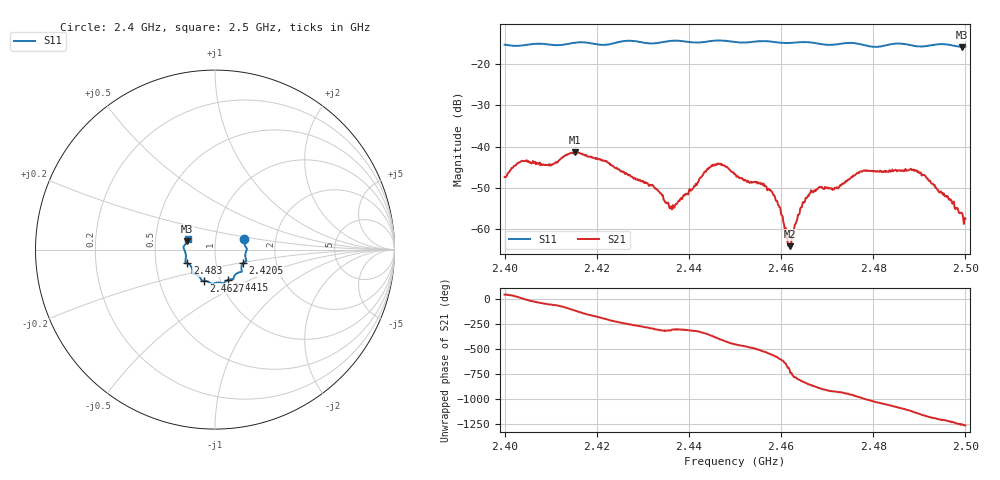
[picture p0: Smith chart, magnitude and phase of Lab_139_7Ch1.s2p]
# Hz S RI R 50
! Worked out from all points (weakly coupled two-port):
!   601 points, 2.4 GHz to 2.5 GHz, reference 50 ohm
!   highest |S21| = -41.41 dB at 2.4153 GHz (marker M1); lowest = -64.2 dB at 2.4618 GHz (marker M2)
!   lowest |S11| = -15.8 dB at 2.4993 GHz (marker M3), VSWR 1.39, Z = 36.4 + j3.62 ohm
!   |S11| at or under -10 dB: start of sweep to end of sweep
!   S12 and S22 are empty: the file has one direction only
!   S11 on the Smith chart (normalised r, x): 2.4 GHz: 1.38, +0.16; 2.4205 GHz: 1.35, -0.21; 2.4415 GHz: 1.09, -0.38; 2.4627 GHz: 0.84, -0.30; 2.483 GHz: 0.73, -0.11; 2.5 GHz: 0.73, +0.09
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2.4e9  0.1636 0.0574  0.00313 0.0029  0 0  0 0
2.4035e9  0.1673 0.0222  0.00647 0.00102  0 0  0 0
2.409833e9  0.1732 -0.00926  0.00327 -0.00487  0 0  0 0
2.415333e9  0.1737 -0.059  -0.00394 -0.00754  0 0  0 0
2.416667e9  0.1744 -0.0635  -0.00587 -0.0056  0 0  0 0
2.4205e9  0.156 -0.0757  -0.00699 0.000344  0 0  0 0
2.433333e9  0.1074 -0.1471  0.00178 0.00228  0 0  0 0
2.436333e9  0.1024 -0.1642  0.001 0.0014  0 0  0 0
2.4415e9  0.0734 -0.1686  0.0027 0.00226  0 0  0 0
2.445833e9  0.048 -0.1886  0.00554 -0.00256  0 0  0 0
2.45e9  0.0301 -0.1844  -0.000189 -0.00464  0 0  0 0
2.458167e9  -0.0251 -0.1864  -0.00254 0.000975  0 0  0 0
2.461833e9  -0.0543 -0.1737  0.000593 0.000163  0 0  0 0
2.462667e9  -0.0609 -0.1729  0.000565 -0.000647  0 0  0 0
2.464667e9  -0.0719 -0.1719  -0.00045 -0.002  0 0  0 0
2.466667e9  -0.0768 -0.1673  -0.00219 -0.00181  0 0  0 0
2.4775e9  -0.1261 -0.1202  -0.000238 0.00492  0 0  0 0
2.483e9  -0.1542 -0.0754  0.00455 0.00208  0 0  0 0
2.483333e9  -0.1565 -0.074  0.00456 0.00178  0 0  0 0
2.489833e9  -0.162 -0.0322  0.00218 -0.00448  0 0  0 0
2.499333e9  -0.1554 0.0485  -0.00151 -0.000208  0 0  0 0
2.5e9  -0.1529 0.0572  -0.00132 3.39e-05  0 0  0 0
